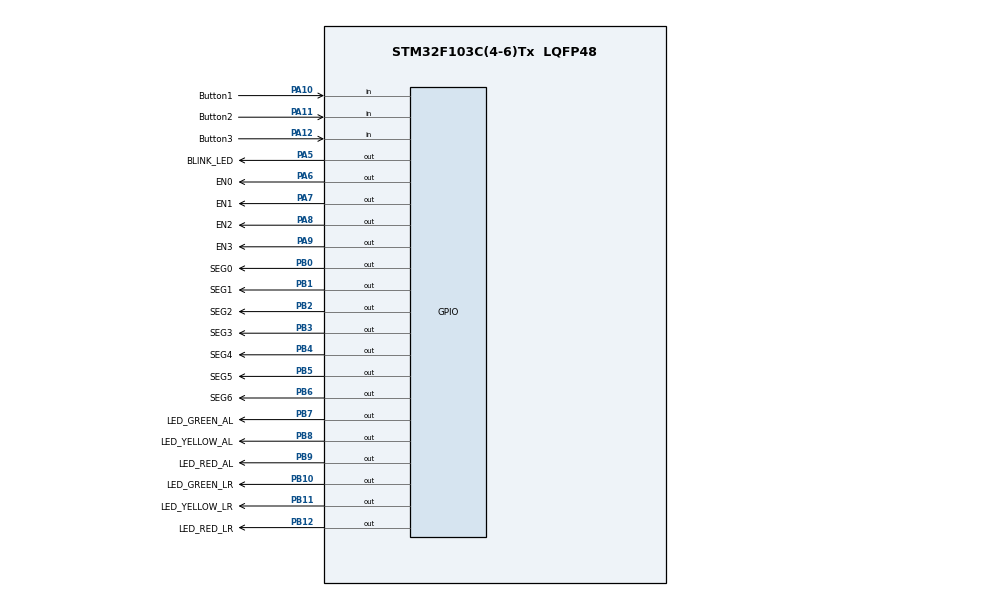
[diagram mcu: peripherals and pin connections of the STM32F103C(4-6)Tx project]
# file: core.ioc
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Mcu.Family=STM32F1
Mcu.Name=STM32F103C(4-6)Tx
Mcu.Package=LQFP48
NVIC.PriorityGroup=NVIC_PRIORITYGROUP_4
NVIC.TIM2_IRQn=true\:1\:0\:true\:false\:true\:true\:true
PA10.GPIO_Label=Button1
PA10.GPIO_PuPd=GPIO_PULLUP
PA10.Signal=GPIO_Input
PA11.GPIO_Label=Button2
PA11.GPIO_PuPd=GPIO_PULLUP
PA11.Signal=GPIO_Input
PA12.GPIO_Label=Button3
PA12.GPIO_PuPd=GPIO_PULLUP
PA12.Signal=GPIO_Input
PA13.Mode=Serial_Wire
PA13.Signal=SYS_JTMS-SWDIO
PA14.Mode=Serial_Wire
PA14.Signal=SYS_JTCK-SWCLK
PA5.GPIO_Label=BLINK_LED
PA5.Signal=GPIO_Output
PA6.GPIO_Label=EN0
PA6.Signal=GPIO_Output
PA7.GPIO_Label=EN1
PA7.Signal=GPIO_Output
PA8.GPIO_Label=EN2
PA8.Signal=GPIO_Output
PA9.GPIO_Label=EN3
PA9.Signal=GPIO_Output
PB0.GPIO_Label=SEG0
PB0.Signal=GPIO_Output
PB1.GPIO_Label=SEG1
PB1.Signal=GPIO_Output
PB10.GPIO_Label=LED_GREEN_LR
PB10.Signal=GPIO_Output
PB11.GPIO_Label=LED_YELLOW_LR
PB11.Signal=GPIO_Output
PB12.GPIO_Label=LED_RED_LR
PB12.Signal=GPIO_Output
PB2.GPIO_Label=SEG2
PB2.Signal=GPIO_Output
PB3.GPIO_Label=SEG3
PB3.Signal=GPIO_Output
PB4.GPIO_Label=SEG4
PB4.Signal=GPIO_Output
PB5.GPIO_Label=SEG5
PB5.Signal=GPIO_Output
PB6.GPIO_Label=SEG6
PB6.Signal=GPIO_Output
PB7.GPIO_Label=LED_GREEN_AL
PB7.Signal=GPIO_Output
PB8.GPIO_Label=LED_YELLOW_AL
PB8.Signal=GPIO_Output
PB9.GPIO_Label=LED_RED_AL
PB9.Signal=GPIO_Output
PD0-OSC_IN.Mode=HSE-External-Oscillator
PD0-OSC_IN.Signal=RCC_OSC_IN
PD1-OSC_OUT.Mode=HSE-External-Oscillator
PD1-OSC_OUT.Signal=RCC_OSC_OUT
ProjectManager.HeapSize=0x200
ProjectManager.StackSize=0x400
ProjectManager.TargetToolchain=STM32CubeIDE
RCC.APB1Freq_Value=8000000
RCC.APB2Freq_Value=8000000
TIM2.Period=9
TIM2.Prescaler=7999
VP_TIM2_VS_ClockSourceINT.Mode=Internal
board=custom

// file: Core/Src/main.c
/* USER CODE BEGIN Header */
/**
  ******************************************************************************
  * @file           : main.c
  * @brief          : Main program body
  ******************************************************************************
  * @attention
  *
  * <h2><center>&copy; Copyright (c) 2024 STMicroelectronics.
  * All rights reserved.</center></h2>
  *
  * This software component is licensed by ST under BSD 3-Clause license,
  * the "License"; You may not use this file except in compliance with the
  * License. You may obtain a copy of the License at:
  *                        opensource.org/licenses/BSD-3-Clause
  *
  ******************************************************************************
  */
/* USER CODE END Header */
#include "main.h"

/* USER CODE BEGIN Includes */
#include "Scheduler.h"
#include "software_timer.h"
#include "led7_segment.h"
#include "fsm_automatic.h"
#include "button.h"
#include "fsm_setting.h"
#include "fsm_manual.h"
/* USER CODE END Includes */

TIM_HandleTypeDef htim2;

void SystemClock_Config(void);
static void MX_GPIO_Init(void);
static void MX_TIM2_Init(void);

/* USER CODE BEGIN 0 */
void HAL_TIM_PeriodElapsedCallback(TIM_HandleTypeDef *htim){
	if(htim->Instance == htim2.Instance){
			timeRun();
			getInputKey();
			SCH_Update();
		}
}

void Blink_LED(){
	HAL_GPIO_TogglePin(GPIOA, GPIO_PIN_5);
}
/* USER CODE END 0 */

int main(void)
{

  /* MCU Configuration--------------------------------------------------------*/

  /* Reset of all peripherals, Initializes the Flash interface and the Systick. */
  HAL_Init();

  /* Configure the system clock */
  SystemClock_Config();

  /* Initialize all configured peripherals */
  MX_GPIO_Init();
  MX_TIM2_Init();
  /* USER CODE BEGIN 2 */
  HAL_TIM_Base_Start_IT(&htim2);
  init_display(SEG0_GPIO_Port, SEG0_Pin,
   		  	   SEG1_GPIO_Port, SEG1_Pin,
   			   SEG2_GPIO_Port, SEG2_Pin,
   			   SEG3_GPIO_Port, SEG3_Pin,
   			   SEG4_GPIO_Port, SEG4_Pin,
   			   SEG5_GPIO_Port, SEG5_Pin,
   			   SEG6_GPIO_Port, SEG6_Pin);
  setTimer(0,100);
  SCH_Init();
  // add Blink LED function
  SCH_Add_Task(&Blink_LED, 0, 300);
  // add automatic mode
  SCH_Add_Task(&fsm_automatic, 0, 10);
  // add manual mode
  SCH_Add_Task(&fsm_manual, 0, 10);
  //add setting mode
  SCH_Add_Task(&fsm_setting, 0, 30);
  // add scan segment
  SCH_Add_Task(&scan_led7_segment, 0, 100);
  /* USER CODE END 2 */

  /* Infinite loop */
  /* USER CODE BEGIN WHILE */
  while (1)
  {
	  SCH_Dispatch_Tasks();
    /* USER CODE END WHILE */

  }
}

void SystemClock_Config(void)
{
  RCC_OscInitTypeDef RCC_OscInitStruct = {0};
  RCC_ClkInitTypeDef RCC_ClkInitStruct = {0};

  /** Initializes the RCC Oscillators according to the specified parameters
  * in the RCC_OscInitTypeDef structure.
  */
  RCC_OscInitStruct.OscillatorType = RCC_OSCILLATORTYPE_HSI;
  RCC_OscInitStruct.HSIState = RCC_HSI_ON;
  RCC_OscInitStruct.HSICalibrationValue = RCC_HSICALIBRATION_DEFAULT;
  RCC_OscInitStruct.PLL.PLLState = RCC_PLL_NONE;
  if (HAL_RCC_OscConfig(&RCC_OscInitStruct) != HAL_OK)
  {
    Error_Handler();
  }
  /** Initializes the CPU, AHB and APB buses clocks
  */
  RCC_ClkInitStruct.ClockType = RCC_CLOCKTYPE_HCLK|RCC_CLOCKTYPE_SYSCLK
                              |RCC_CLOCKTYPE_PCLK1|RCC_CLOCKTYPE_PCLK2;
  RCC_ClkInitStruct.SYSCLKSource = RCC_SYSCLKSOURCE_HSI;
  RCC_ClkInitStruct.AHBCLKDivider = RCC_SYSCLK_DIV1;
  RCC_ClkInitStruct.APB1CLKDivider = RCC_HCLK_DIV1;
  RCC_ClkInitStruct.APB2CLKDivider = RCC_HCLK_DIV1;

  if (HAL_RCC_ClockConfig(&RCC_ClkInitStruct, FLASH_LATENCY_0) != HAL_OK)
  {
    Error_Handler();
  }
}

static void MX_TIM2_Init(void)
{

  TIM_ClockConfigTypeDef sClockSourceConfig = {0};
  TIM_MasterConfigTypeDef sMasterConfig = {0};

  htim2.Instance = TIM2;
  htim2.Init.Prescaler = 7999;
  htim2.Init.CounterMode = TIM_COUNTERMODE_UP;
  htim2.Init.Period = 9;
  htim2.Init.ClockDivision = TIM_CLOCKDIVISION_DIV1;
  htim2.Init.AutoReloadPreload = TIM_AUTORELOAD_PRELOAD_DISABLE;
  if (HAL_TIM_Base_Init(&htim2) != HAL_OK)
  {
    Error_Handler();
  }
  sClockSourceConfig.ClockSource = TIM_CLOCKSOURCE_INTERNAL;
  if (HAL_TIM_ConfigClockSource(&htim2, &sClockSourceConfig) != HAL_OK)
  {
    Error_Handler();
  }
  sMasterConfig.MasterOutputTrigger = TIM_TRGO_RESET;
  sMasterConfig.MasterSlaveMode = TIM_MASTERSLAVEMODE_DISABLE;
  if (HAL_TIMEx_MasterConfigSynchronization(&htim2, &sMasterConfig) != HAL_OK)
  {
    Error_Handler();
  }

}

static void MX_GPIO_Init(void)
{
  GPIO_InitTypeDef GPIO_InitStruct = {0};

  /* GPIO Ports Clock Enable */
  __HAL_RCC_GPIOD_CLK_ENABLE();
  __HAL_RCC_GPIOA_CLK_ENABLE();
  __HAL_RCC_GPIOB_CLK_ENABLE();

  /*Configure GPIO pin Output Level */
  HAL_GPIO_WritePin(GPIOA, BLINK_LED_Pin|EN0_Pin|EN1_Pin|EN2_Pin
                          |EN3_Pin, GPIO_PIN_RESET);

  /*Configure GPIO pin Output Level */
  HAL_GPIO_WritePin(GPIOB, SEG0_Pin|SEG1_Pin|SEG2_Pin|LED_GREEN_LR_Pin
                          |LED_YELLOW_LR_Pin|LED_RED_LR_Pin|SEG3_Pin|SEG4_Pin
                          |SEG5_Pin|SEG6_Pin|LED_GREEN_AL_Pin|LED_YELLOW_AL_Pin
                          |LED_RED_AL_Pin, GPIO_PIN_RESET);

  /*Configure GPIO pins : BLINK_LED_Pin EN0_Pin EN1_Pin EN2_Pin
                           EN3_Pin */
  GPIO_InitStruct.Pin = BLINK_LED_Pin|EN0_Pin|EN1_Pin|EN2_Pin
                          |EN3_Pin;
  GPIO_InitStruct.Mode = GPIO_MODE_OUTPUT_PP;
  GPIO_InitStruct.Pull = GPIO_NOPULL;
  GPIO_InitStruct.Speed = GPIO_SPEED_FREQ_LOW;
  HAL_GPIO_Init(GPIOA, &GPIO_InitStruct);

  /*Configure GPIO pins : SEG0_Pin SEG1_Pin SEG2_Pin LED_GREEN_LR_Pin
                           LED_YELLOW_LR_Pin LED_RED_LR_Pin SEG3_Pin SEG4_Pin
                           SEG5_Pin SEG6_Pin LED_GREEN_AL_Pin LED_YELLOW_AL_Pin
                           LED_RED_AL_Pin */
  GPIO_InitStruct.Pin = SEG0_Pin|SEG1_Pin|SEG2_Pin|LED_GREEN_LR_Pin
                          |LED_YELLOW_LR_Pin|LED_RED_LR_Pin|SEG3_Pin|SEG4_Pin
                          |SEG5_Pin|SEG6_Pin|LED_GREEN_AL_Pin|LED_YELLOW_AL_Pin
                          |LED_RED_AL_Pin;
  GPIO_InitStruct.Mode = GPIO_MODE_OUTPUT_PP;
  GPIO_InitStruct.Pull = GPIO_NOPULL;
  GPIO_InitStruct.Speed = GPIO_SPEED_FREQ_LOW;
  HAL_GPIO_Init(GPIOB, &GPIO_InitStruct);

  /*Configure GPIO pins : Button1_Pin Button2_Pin Button3_Pin */
  GPIO_InitStruct.Pin = Button1_Pin|Button2_Pin|Button3_Pin;
  GPIO_InitStruct.Mode = GPIO_MODE_INPUT;
  GPIO_InitStruct.Pull = GPIO_PULLUP;
  HAL_GPIO_Init(GPIOA, &GPIO_InitStruct);

}

void Error_Handler(void)
{
  __disable_irq();
  while (1)
  {
  }
}

/************************ (C) COPYRIGHT STMicroelectronics *****END OF FILE****/
